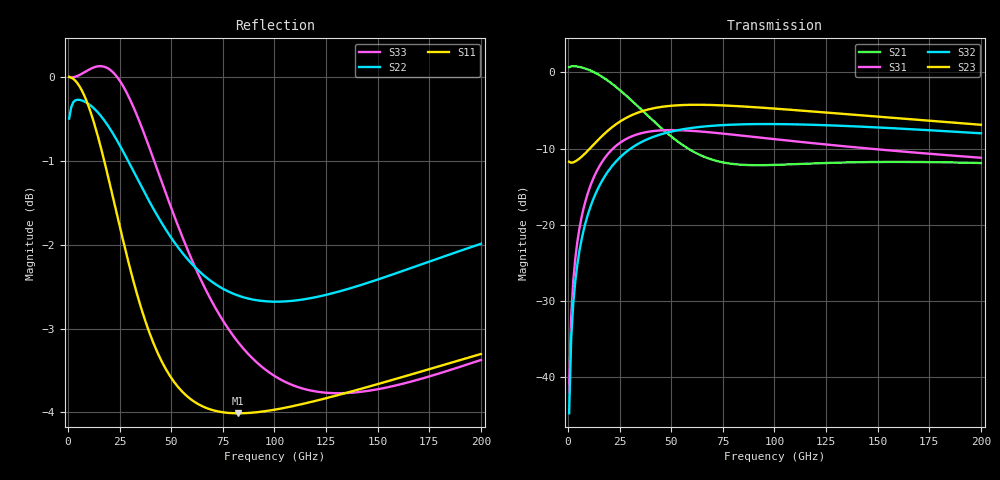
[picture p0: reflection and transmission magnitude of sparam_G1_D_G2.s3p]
# GHz S MA R 50
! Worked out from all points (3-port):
!   201 points, 500 MHz to 200 GHz, reference 50 ohm
!   strongest paths, dB at 500 MHz, 50.38 GHz, 100.2 GHz, 150.1 GHz, 200 GHz:
!     S23: -11.7, -4.4, -4.8, -5.8, -6.9
!     S32: -44.7, -7.7, -6.8, -7.2, -8.0
!     S31: -41.9, -7.6, -8.8, -10.1, -11.2
!     S21: 0.7, -8.5, -12.1, -11.8, -11.9
!   lowest |S11| = -4.0 dB at 82.3 GHz (marker M1), VSWR 4.41, Z = 16.3 - j31.9 ohm
!   |S11| at or under -10 dB: nowhere
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0.5  0.9999 -1.4  0.00235 90.0  0.005238 88.4
     1.081 178.3  0.9443 -0.1  0.2593 178.4
     0.008017 -90.6  0.005805 90.8  0.9998 -0.7
1.4975  0.999 -4.2  0.007116 89.2  0.01558 85.5
        1.095 174.0  0.9589 -1.5  0.2554 176.9
        0.02506 -94.7  0.01799 89.9  0.9993 -2.2
4.49  0.9914 -12.5  0.02155 85.7  0.04571 77.7
      1.092 159.9  0.969 -6.9  0.266 172.8
      0.0774 -111.1  0.05508 84.6  1.001 -6.5
16.46  0.9018 -43.1  0.07798 72.0  0.1397 48.9
       0.9364 108.4  0.9458 -26.8  0.3825 142.9
       0.2587 -169.6  0.1944 66.7  1.015 -25.1
25.4375  0.8106 -61.1  0.1154 61.6  0.1721 32.7
         0.7584 76.7  0.9084 -40.2  0.4787 116.4
         0.3475 153.5  0.2795 54.4  0.9929 -39.9
34.415  0.7349 -74.6  0.1454 52.1  0.1811 22.0
        0.5881 52.5  0.8654 -51.9  0.548 93.0
        0.3956 123.4  0.3427 43.6  0.9416 -53.4
52.37  0.6555 -92.6  0.1846 36.9  0.1793 12.8
       0.3583 26.8  0.7941 -70.1  0.6076 58.4
       0.418 80.4  0.4157 26.8  0.8204 -74.1
82.295  0.6302 -110.9  0.2137 20.1  0.1857 8.4
        0.2489 21.0  0.7408 -90.4  0.6004 25.0
        0.3874 40.1  0.4555 8.2  0.695 -94.4
100.25  0.6334 -118.3  0.2208 13.0  0.1922 5.7
        0.2473 18.9  0.7345 -98.9  0.5786 12.4
        0.3645 25.7  0.4582 0.2  0.6631 -102.0
200  0.6836 -138.7  0.2191 -10.6  0.203 -9.8
     0.2544 -6.3  0.7952 -126.1  0.4533 -23.2
     0.2755 -11.7  0.3985 -26.5  0.678 -124.4
